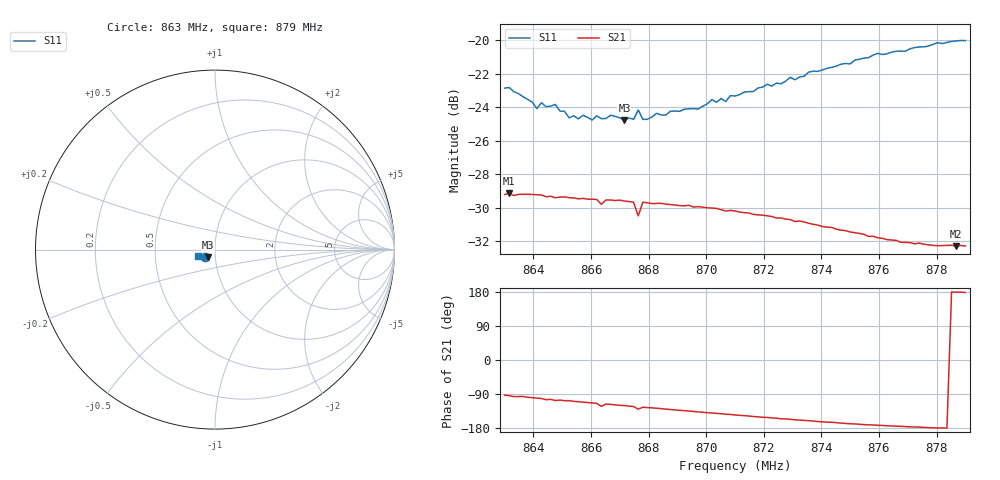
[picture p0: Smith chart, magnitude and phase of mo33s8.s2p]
# HZ S RI R 50
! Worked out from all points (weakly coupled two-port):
!   101 points, 863 MHz to 879 MHz, reference 50 ohm
!   highest |S21| = -29.15 dB at 863.16 MHz (marker M1); lowest = -32.3 dB at 878.68 MHz (marker M2)
!   lowest |S11| = -24.8 dB at 867.16 MHz (marker M3), VSWR 1.12, Z = 46 - j3.88 ohm
!   |S11| at or under -10 dB: start of sweep to end of sweep
!   S12 and S22 are empty: the file has one direction only
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8.63e8  -0.0581 -0.0422  -0.00165 -0.0346  0 0  0 0
8.6316e8  -0.0586 -0.0421  -0.00231 -0.0348  0 0  0 0
8.6412e8  -0.0481 -0.0399  -0.00629 -0.034  0 0  0 0
8.6428e8  -0.0507 -0.0407  -0.00693 -0.0338  0 0  0 0
8.6476e8  -0.05 -0.0404  -0.00987 -0.0324  0 0  0 0
8.6524e8  -0.0443 -0.0383  -0.0101 -0.0323  0 0  0 0
8.6572e8  -0.0438 -0.0404  -0.0122 -0.0314  0 0  0 0
8.6636e8  -0.0427 -0.0397  -0.0173 -0.0273  0 0  0 0
8.6668e8  -0.0419 -0.0424  -0.0153 -0.0297  0 0  0 0
8.6716e8  -0.0395 -0.042  -0.0167 -0.0286  0 0  0 0
8.6748e8  -0.0388 -0.0431  -0.0178 -0.0276  0 0  0 0
8.6764e8  -0.0422 -0.0453  -0.0192 -0.0229  0 0  0 0
8.678e8  -0.0391 -0.0429  -0.0186 -0.0271  0 0  0 0
8.6844e8  -0.0382 -0.0459  -0.0202 -0.0255  0 0  0 0
8.6972e8  -0.0383 -0.0491  -0.0233 -0.0217  0 0  0 0
8.702e8  -0.0404 -0.0527  -0.0241 -0.0203  0 0  0 0
8.7068e8  -0.04 -0.052  -0.0247 -0.0186  0 0  0 0
8.71e8  -0.0417 -0.0538  -0.0253 -0.0178  0 0  0 0
8.7372e8  -0.055 -0.0591  -0.0267 -0.0091  0 0  0 0
8.7644e8  -0.075 -0.0532  -0.0252 -0.00259  0 0  0 0
8.7868e8  -0.0908 -0.04  -0.0243 0.000538  0 0  0 0
8.79e8  -0.0921 -0.0377  -0.0243 0.000803  0 0  0 0
